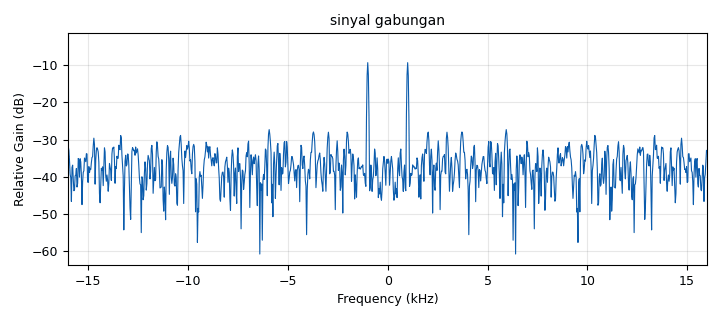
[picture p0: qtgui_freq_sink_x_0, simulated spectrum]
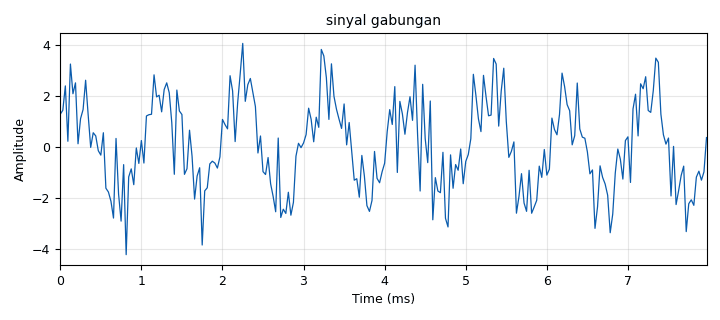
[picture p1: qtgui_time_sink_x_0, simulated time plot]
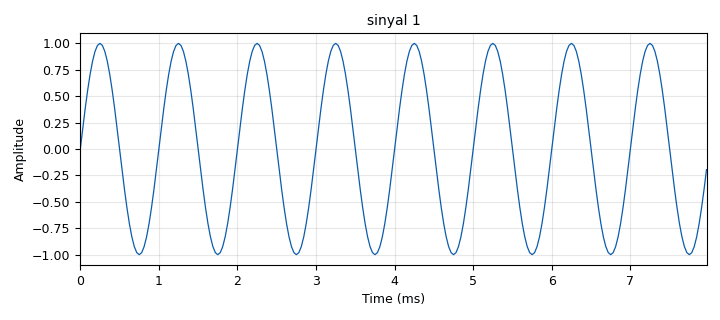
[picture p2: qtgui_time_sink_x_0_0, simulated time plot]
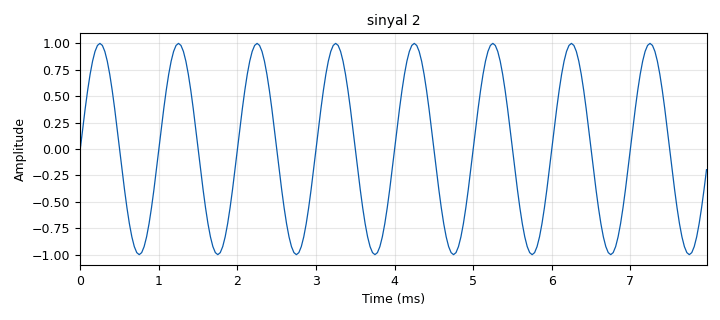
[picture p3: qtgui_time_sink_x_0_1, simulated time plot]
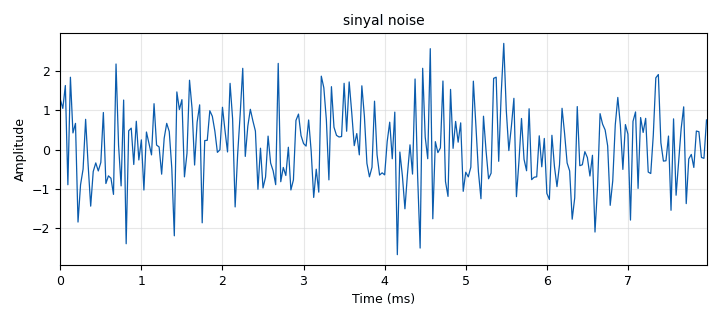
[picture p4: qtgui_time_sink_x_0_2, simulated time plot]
options:
  parameters:
    generate_options: qt_gui
    id: Praktikum1T1
    output_language: python
    title: Tugas 1
  states: {}

blocks:
- name: amp1
  id: variable_qtgui_range
  parameters:
    start: '-4'
    step: '1'
    stop: '4'
    value: '1'
  states: {}
- name: amp2
  id: variable_qtgui_range
  parameters:
    start: '-4'
    step: '1'
    stop: '4'
    value: '1'
  states: {}
- name: amp3
  id: variable_qtgui_range
  parameters:
    start: '-4'
    step: '1'
    stop: '4'
    value: '1'
  states: {}
- name: freq1
  id: variable_qtgui_range
  parameters:
    start: '20'
    step: '10'
    stop: '20000'
    value: '1000'
  states: {}
- name: freq2
  id: variable_qtgui_range
  parameters:
    start: '20'
    step: '10'
    stop: '20000'
    value: '1000'
  states: {}
- name: offset1
  id: variable_qtgui_range
  parameters:
    start: '-2'
    step: '0.1'
    stop: '2'
    value: '0'
  states: {}
- name: offset2
  id: variable_qtgui_range
  parameters:
    start: '-2'
    step: '0.1'
    stop: '2'
    value: '0'
  states: {}
- name: samp_rate
  id: variable
  parameters:
    value: '32000'
  states: {}
- name: analog_noise_source_x_0
  id: analog_noise_source_x
  parameters:
    amp: amp3
    noise_type: analog.GR_GAUSSIAN
    seed: '0'
    type: float
  states: {}
- name: analog_sig_source_x_0
  id: analog_sig_source_x
  parameters:
    amp: amp1
    freq: freq1
    offset: offset1
    phase: '0'
    samp_rate: samp_rate
    type: float
    waveform: analog.GR_SIN_WAVE
  states: {}
- name: analog_sig_source_x_0_0
  id: analog_sig_source_x
  parameters:
    amp: amp2
    freq: freq2
    offset: offset2
    phase: '0'
    samp_rate: samp_rate
    type: float
    waveform: analog.GR_SIN_WAVE
  states: {}
- name: blocks_add_xx_0
  id: blocks_add_xx
  parameters:
    num_inputs: '3'
    type: float
  states: {}
- name: blocks_throttle2_0
  id: blocks_throttle2
  parameters:
    samples_per_second: samp_rate
    type: float
  states: {}
- name: blocks_throttle2_0_0
  id: blocks_throttle2
  parameters:
    samples_per_second: samp_rate
    type: float
  states: {}
- name: blocks_throttle2_0_1
  id: blocks_throttle2
  parameters:
    samples_per_second: samp_rate
    type: float
  states: {}
- name: qtgui_freq_sink_x_0
  id: qtgui_freq_sink_x
  parameters:
    autoscale: 'True'
    bw: samp_rate
    fc: '0'
    fftsize: '1024'
    name: sinyal gabungan
    type: float
  states: {}
- name: qtgui_time_sink_x_0
  id: qtgui_time_sink_x
  parameters:
    autoscale: 'True'
    color1: dark blue
    name: sinyal gabungan
    size: '256'
    srate: samp_rate
    type: float
    ymax: '3'
    ymin: '-3'
  states: {}
- name: qtgui_time_sink_x_0_0
  id: qtgui_time_sink_x
  parameters:
    autoscale: 'True'
    color1: dark blue
    name: sinyal 1
    size: '256'
    srate: samp_rate
    type: float
    ymax: '3'
    ymin: '-3'
  states: {}
- name: qtgui_time_sink_x_0_1
  id: qtgui_time_sink_x
  parameters:
    autoscale: 'True'
    color1: dark blue
    name: sinyal 2
    size: '256'
    srate: samp_rate
    type: float
    ymax: '3'
    ymin: '-3'
  states: {}
- name: qtgui_time_sink_x_0_2
  id: qtgui_time_sink_x
  parameters:
    autoscale: 'True'
    color1: dark blue
    name: sinyal noise
    size: '256'
    srate: samp_rate
    type: float
    ymax: '3'
    ymin: '-3'
  states: {}

connections:
- [analog_noise_source_x_0, '0', blocks_throttle2_0_1, '0']
- [analog_sig_source_x_0, '0', blocks_throttle2_0_0, '0']
- [analog_sig_source_x_0_0, '0', blocks_throttle2_0, '0']
- [blocks_add_xx_0, '0', qtgui_freq_sink_x_0, '0']
- [blocks_add_xx_0, '0', qtgui_time_sink_x_0, '0']
- [blocks_throttle2_0, '0', blocks_add_xx_0, '1']
- [blocks_throttle2_0, '0', qtgui_time_sink_x_0_1, '0']
- [blocks_throttle2_0_0, '0', blocks_add_xx_0, '0']
- [blocks_throttle2_0_0, '0', qtgui_time_sink_x_0_0, '0']
- [blocks_throttle2_0_1, '0', blocks_add_xx_0, '2']
- [blocks_throttle2_0_1, '0', qtgui_time_sink_x_0_2, '0']

metadata:
  file_format: 1
  grc_version: 3.10.12.0
